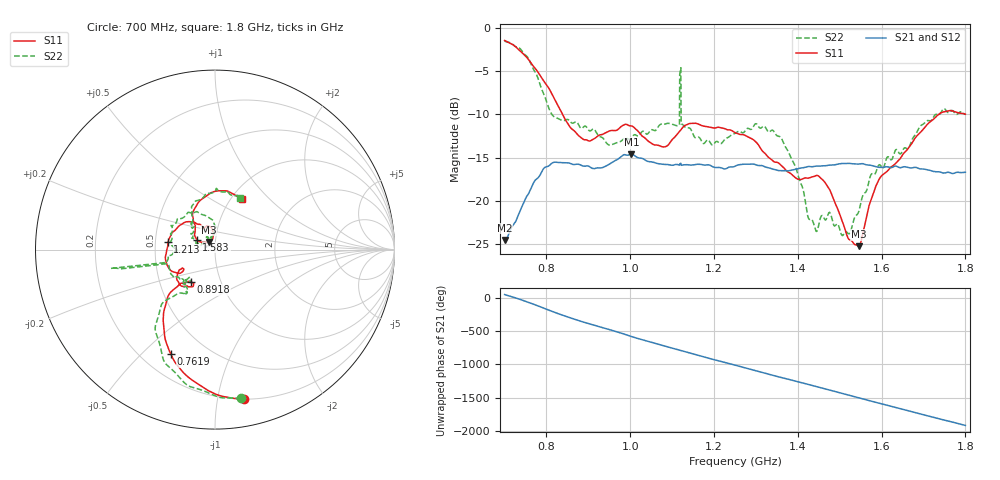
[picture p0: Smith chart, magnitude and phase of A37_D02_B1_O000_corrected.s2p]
! Created with skrf 1.9.0 (http://scikit-rf.org).
# Hz S RI R 50.0
!freq ReS11 ImS11 ReS21 ImS21 ReS12 ImS12 ReS22 ImS22
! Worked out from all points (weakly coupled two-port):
!   1601 points, 700 MHz to 1.8 GHz, reference 50 ohm
!   highest |S21| = -14.63 dB at 1.002 GHz (marker M1); lowest = -24.6 dB at 700.7 MHz (marker M2)
!   lowest |S11| = -25.3 dB at 1.545 GHz (marker M3), VSWR 1.11, Z = 46.5 + j3.92 ohm
!   |S11| at or under -10 dB: 838.5 MHz to 1.736 GHz (897.3 MHz wide, 69.7 % of centre)
!   |S22| runs from -24.1 to -1.5 dB; largest |S21 - S12| = 0.0035
!   S11 on the Smith chart (normalised r, x): 700 MHz: 0.20, -1.19; 761.9 MHz: 0.32, -0.62; 891.8 MHz: 0.72, -0.27; 1.213 GHz: 0.58, +0.05; 1.583 GHz: 0.81, +0.09; 1.8 GHz: 1.12, +0.70
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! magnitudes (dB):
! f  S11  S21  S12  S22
! 700 MHz  -1.4  -24.6  -24.3  -1.5
! 700.7 MHz  -1.4  -24.6  -24.3  -1.5
! 761.9 MHz  -4.0  -18.7  -18.7  -4.0
! 814.1 MHz  -7.7  -15.6  -15.7  -10.1
! 883.6 MHz  -12.7  -15.9  -15.8  -11.6
! 891.8 MHz  -12.9  -16.0  -16.0  -11.4
! 1.002 GHz  -11.3  -14.6  -14.7  -12.7
! 1.067 GHz  -13.6  -15.7  -15.7  -11.4
! 1.123 GHz  -11.6  -15.9  -15.8  -11.1
! 1.127 GHz  -11.4  -15.9  -15.9  -11.3
! 1.154 GHz  -11.0  -15.8  -15.8  -12.7
! 1.213 GHz  -11.5  -16.2  -16.1  -13.3
! 1.25 GHz  -12.1  -16.0  -15.9  -12.2
! 1.359 GHz  -15.8  -16.5  -16.5  -12.6
! 1.434 GHz  -17.3  -16.1  -16.0  -22.2
! 1.469 GHz  -18.2  -15.9  -15.9  -22.1
! 1.508 GHz  -22.7  -15.7  -15.7  -24.0
! 1.545 GHz  -25.3  -15.8  -15.7  -21.3
! 1.583 GHz  -18.7  -16.0  -16.0  -16.9
! 1.617 GHz  -16.4  -16.1  -16.1  -15.0
! 1.737 GHz  -10.0  -16.7  -16.7  -10.0
! 1.8 GHz  -10.0  -16.7  -16.7  -9.9
